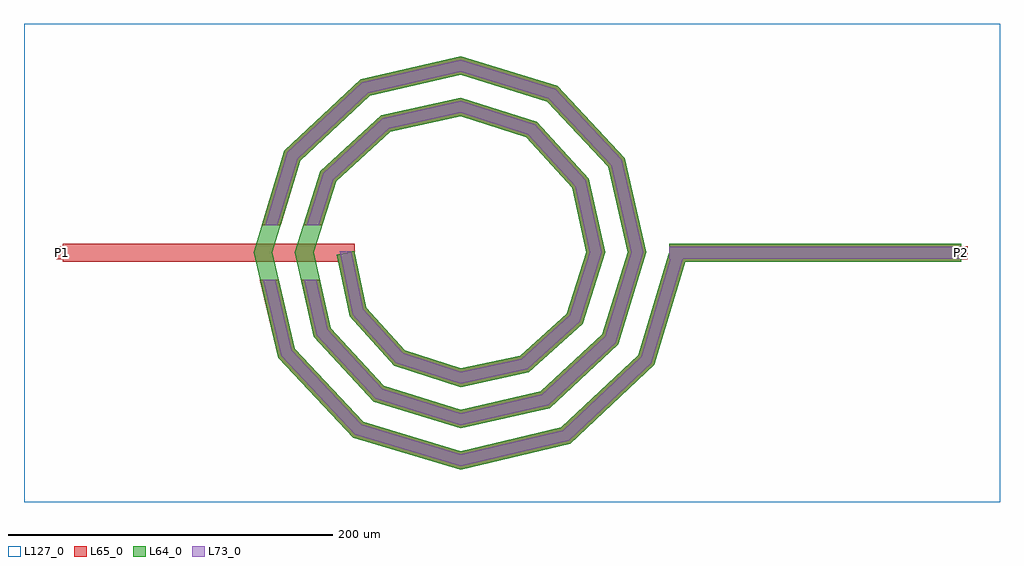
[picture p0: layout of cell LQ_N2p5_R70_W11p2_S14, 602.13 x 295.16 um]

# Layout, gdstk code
import gdstk
lib = gdstk.Library(unit=1e-6, precision=1e-09)
def R(c, l, rs):  # rectangles x0, y0, x1, y1
    for r in rs: c.add(gdstk.rectangle(r[:2], r[2:], *l))
def P(c, l, *ps):  # polygons
    for p in ps: c.add(gdstk.Polygon(p, *l))
L64_0 = (64, 0)
L65_0 = (65, 0)
L73_0 = (73, 0)
L127_0 = (127, 0)

lq_n2p5_r70_w11p2_s14 = lib.new_cell('LQ_N2p5_R70_W11p2_S14')
R(lq_n2p5_r70_w11p2_s14, L64_0, [(128.928,-5.6,308.928,5.6)])
P(lq_n2p5_r70_w11p2_s14, L64_0, [(-57.986,-33.842),(-34.366,-60.135),(0.297,-71.385),(37.005,-63.516),(65.641,-37.572),(77.757,0.275),(69.045,40.172),(40.776,71.149),(0.255,84.128),(-43.342,74.572),(-76.658,43.977),(-90.5,0.238),(-80.098,-46.514),(-47.176,-82.168),(0.224,-96.872),(49.688,-85.623),(87.68,-50.374),(103.244,0.211),(91.148,52.863),(53.57,93.192),(0.199,109.616),(-56.039,96.672),(-98.705,56.766),(-115.988,0.189),(-102.195,-59.217),(-59.96,-104.219),(0.179,-122.36),(62.395,-107.718),(109.733,-63.154),(129.164,1.609),(139.891,-1.609),(119.597,-69.25),(67.885,-117.932),(0.179,-133.951),(-66.071,-114.074),(-112.418,-64.691),(-127.578,0.189),(-108.55,62.893),(-61.496,106.904),(0.199,121.205),(59.716,103.026),(101.391,58.299),(114.833,0.211),(97.501,-56.54),(55.102,-95.878),(0.224,-108.46),(-53.366,-91.975),(-90.366,-51.903),(-102.087,0.238),(-86.448,50.192),(-48.703,84.855),(0.255,95.714),(47.021,80.92),(79.345,45.501),(89.341,0.275),(75.391,-43.852),(42.295,-73.837),(0.297,-82.967),(-40.686,-69.859),(-68.33,-39.087),(-76.285,-1.149),(-65.323,1.149)])
R(lq_n2p5_r70_w11p2_s14, L65_0, [(-245.204,-5.6,-65.204,5.6), (128.928,-5.6,308.928,5.6), (-249.204,-4,-241.204,4), (304.928,-4,312.928,4)])
P(lq_n2p5_r70_w11p2_s14, L65_0, [(-102.195,-59.217),(-59.96,-104.219),(0.179,-122.36),(62.395,-107.718),(109.733,-63.154),(129.164,1.609),(139.892,-1.609),(119.597,-69.25),(67.885,-117.932),(0.179,-133.951),(-66.071,-114.074),(-112.418,-64.691),(-123.608,-16.8),(-112.107,-16.8)],
  [(-80.098,-46.514),(-47.176,-82.169),(0.224,-96.872),(49.688,-85.624),(87.68,-50.374),(103.244,0.211),(91.148,52.863),(53.57,93.192),(0.199,109.616),(-56.039,96.672),(-98.705,56.766),(-110.833,16.8),(-122.537,16.8),(-108.55,62.893),(-61.496,106.904),(0.199,121.205),(59.716,103.026),(101.391,58.299),(114.833,0.211),(97.501,-56.54),(55.102,-95.878),(0.224,-108.46),(-53.366,-91.975),(-90.366,-51.904),(-98.257,-16.8),(-86.777,-16.8)],
  [(-34.366,-60.135),(0.298,-71.385),(37.005,-63.516),(65.641,-37.572),(77.757,0.275),(69.045,40.173),(40.776,71.149),(0.255,84.128),(-43.342,74.572),(-76.658,43.977),(-85.166,16.8),(-96.902,16.8),(-86.448,50.193),(-48.703,84.855),(0.255,95.714),(47.021,80.92),(79.345,45.501),(89.341,0.275),(75.391,-43.852),(42.295,-73.837),(0.298,-82.967),(-40.686,-69.859),(-68.33,-39.087),(-76.285,-1.149),(-65.323,1.149),(-57.986,-33.842)])
R(lq_n2p5_r70_w11p2_s14, L73_0, [(128.928,-3.6,308.928,3.6)])
P(lq_n2p5_r70_w11p2_s14, L73_0, [(-104.021,-60.194),(-61.051,-105.979),(0.115,-124.43),(63.375,-109.542),(111.494,-64.242),(131.08,1.035),(137.976,-1.035),(117.836,-68.161),(66.904,-116.108),(0.115,-131.881),(-64.98,-112.314),(-110.593,-63.713),(-121.554,-16.8),(-114.161,-16.8)],
  [(-81.932,-47.477),(-48.282,-83.92),(0.144,-98.941),(50.655,-87.455),(89.434,-51.475),(105.313,0.135),(92.977,53.834),(54.668,94.948),(0.128,111.686),(-57.014,98.499),(-100.463,57.86),(-112.923,16.8),(-120.447,16.8),(-106.792,61.799),(-60.521,105.077),(0.128,119.136),(58.619,101.27),(99.562,57.329),(112.763,0.135),(95.747,-55.439),(54.135,-94.047),(0.144,-106.391),(-52.26,-90.224),(-88.533,-50.941),(-96.207,-16.8),(-88.827,-16.8)],
  [(-35.495,-61.872),(0.191,-73.454),(37.95,-65.359),(67.382,-38.694),(79.825,0.177),(70.884,41.124),(41.891,72.894),(0.164,86.197),(-44.3,76.408),(-78.406,45.087),(-87.262,16.8),(-94.806,16.8),(-84.7,49.083),(-47.746,83.019),(0.164,93.645),(45.906,79.175),(77.506,44.549),(87.272,0.177),(73.65,-42.731),(41.351,-71.994),(0.191,-80.899),(-39.558,-68.123),(-66.482,-38.15),(-74.327,0.739),(-67.281,0.739),(-59.833,-34.778)])
R(lq_n2p5_r70_w11p2_s14, L127_0, [(-269.204,-153.951,332.928,141.205)])
lq_n2p5_r70_w11p2_s14.add(gdstk.Label('P2', (308.928,0), layer=65, texttype=0))
lq_n2p5_r70_w11p2_s14.add(gdstk.Label('P1', (-245.204,0), layer=65, texttype=0))
lq_n2p5_r70_w11p2_s14.add(gdstk.Label('P2', (312.928,0), layer=145, texttype=0))
lq_n2p5_r70_w11p2_s14.add(gdstk.Label('P1', (-249.204,0), layer=145, texttype=0))

lib.write_gds('LQ_N2p5_R70_W11p2_S14.gds')
